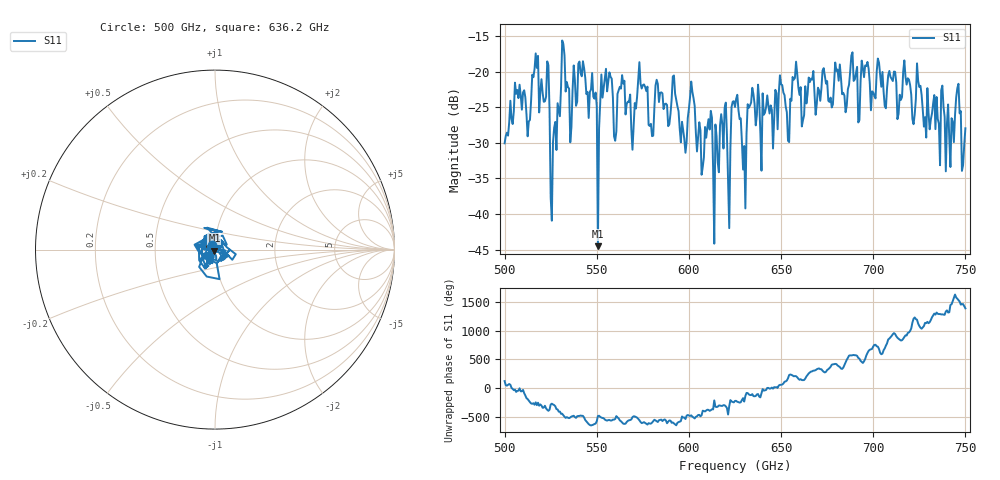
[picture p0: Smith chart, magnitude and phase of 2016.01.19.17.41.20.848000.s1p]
!Created with skrf (http://scikit-rf.org).
# GHz S RI R 50.0
!freq ReS11 ImS11
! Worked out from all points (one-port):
!   401 points, 500 GHz to 750 GHz, reference 50 ohm
!   lowest |S11| = -44.5 dB at 550.6 GHz (marker M1), VSWR 1.01, Z = 49.7 - j0.509 ohm
!   |S11| at or under -10 dB: start of sweep to end of sweep
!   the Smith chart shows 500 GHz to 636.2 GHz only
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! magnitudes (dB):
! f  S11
! 500 GHz  -30.1
! 506.9 GHz  -22.5
! 513.1 GHz  -27.0
! 516.9 GHz  -17.4
! 523.1 GHz  -18.5
! 526.2 GHz  -29.9
! 531.2 GHz  -15.6
! 535.6 GHz  -29.9
! 541.9 GHz  -20.6
! 550.6 GHz  -44.5
! 553.8 GHz  -22.3
! 560 GHz  -29.7
! 562.5 GHz  -22.1
! 593.8 GHz  -24.8
! 598.1 GHz  -31.4
! 601.9 GHz  -22.8
! 608.1 GHz  -32.0
! 611.2 GHz  -28.1
! 615 GHz  -29.0
! 618.8 GHz  -30.8
! 621.9 GHz  -42.0
! 625 GHz  -24.9
! 630 GHz  -30.4
! 633.8 GHz  -24.3
! 656.2 GHz  -20.7
! 687.5 GHz  -19.9
! 718.8 GHz  -20.9
! 750 GHz  -27.9
